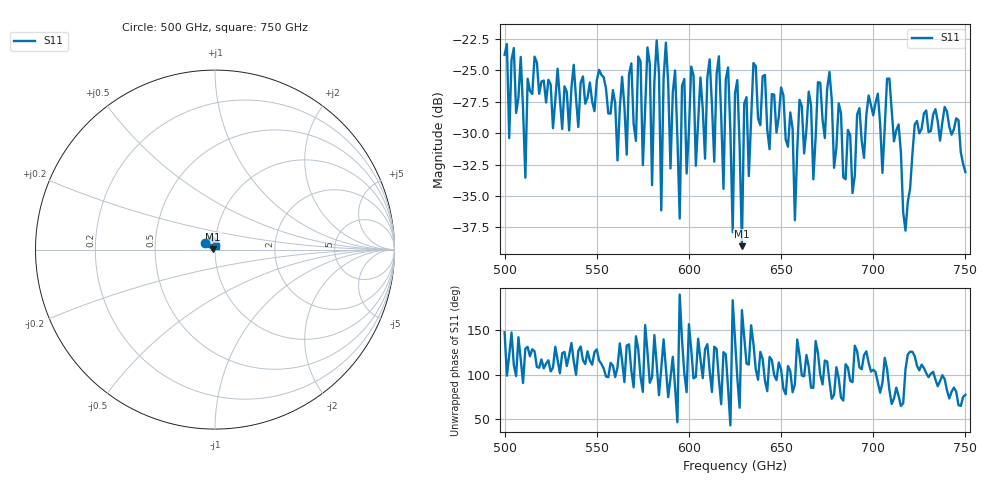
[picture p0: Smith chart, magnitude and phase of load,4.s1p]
!Created with mwavepy.
# GHz S RI R 50.0
!freq	ReS11	ImS11
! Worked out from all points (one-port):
!   201 points, 500 GHz to 750 GHz, reference 50 ohm
!   lowest |S11| = -39.0 dB at 628.8 GHz (marker M1), VSWR 1.02, Z = 48.9 + j0.147 ohm
!   |S11| at or under -10 dB: start of sweep to end of sweep
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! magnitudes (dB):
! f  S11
! 500 GHz  -23.8
! 508.8 GHz  -24.0
! 511.2 GHz  -33.5
! 516.2 GHz  -23.9
! 531.2 GHz  -29.7
! 562.5 GHz  -28.0
! 582.5 GHz  -22.6
! 585 GHz  -36.1
! 587.5 GHz  -22.8
! 593.8 GHz  -30.4
! 611.2 GHz  -24.1
! 613.8 GHz  -32.3
! 616.2 GHz  -23.9
! 618.8 GHz  -34.4
! 621.2 GHz  -24.8
! 623.8 GHz  -37.9
! 625 GHz  -26.8
! 628.8 GHz  -39.0
! 630 GHz  -27.7
! 632.5 GHz  -33.4
! 635 GHz  -24.4
! 656.2 GHz  -29.7
! 657.5 GHz  -36.9
! 660 GHz  -27.4
! 687.5 GHz  -30.2
! 708.8 GHz  -25.7
! 718.8 GHz  -35.5
! 750 GHz  -33.1
